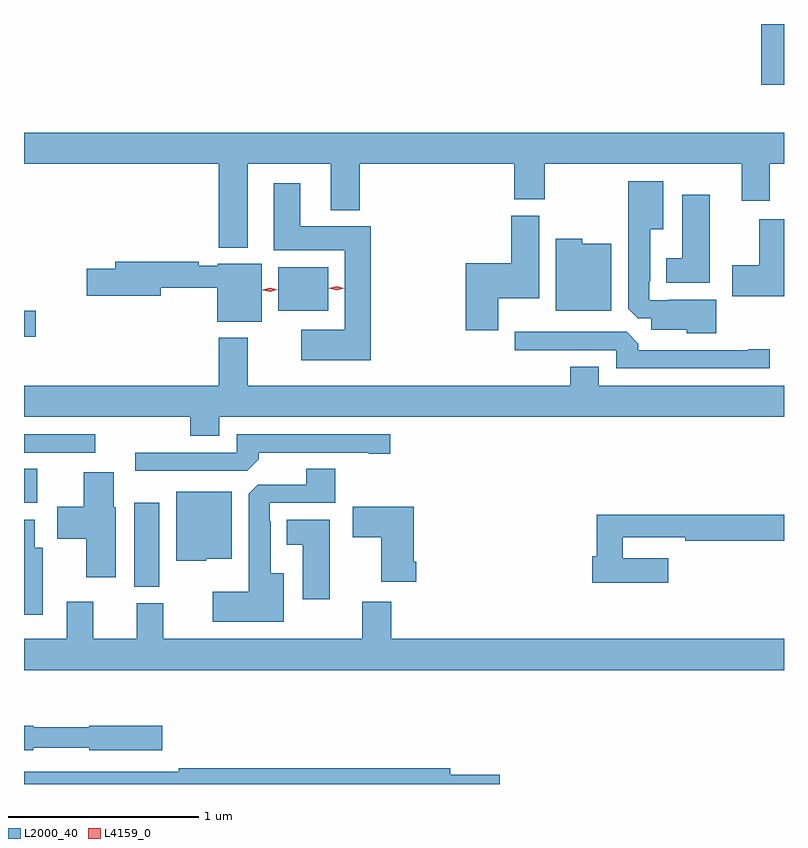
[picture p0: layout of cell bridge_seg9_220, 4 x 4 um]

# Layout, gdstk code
import gdstk
lib = gdstk.Library(unit=1e-6, precision=1e-09)
def R(c, l, rs):  # rectangles x0, y0, x1, y1
    for r in rs: c.add(gdstk.rectangle(r[:2], r[2:], *l))
def P(c, l, *ps):  # polygons
    for p in ps: c.add(gdstk.Polygon(p, *l))
L2000_40 = (2000, 40)
L4159_0 = (4159, 0)

bridge_seg9_220 = lib.new_cell('bridge_seg9_220')
R(bridge_seg9_220, L2000_40, [(230.63,1202.185,230.764,1202.629), (230.051,1202.628,230.122,1202.807), (230.051,1202.892,230.425,1202.988), (230.051,1203.503,230.113,1203.638), (231.389,1203.638,231.652,1203.868), (233.93,1204.827,234.051,1205.148)])
P(bridge_seg9_220, L2000_40, [(231.229,1204.412),(231.665,1204.412),(231.665,1204.169),(231.818,1204.169),(231.818,1204.412),(232.631,1204.412),(232.631,1204.225),(232.791,1204.225),(232.791,1204.412),(233.828,1204.412),(233.828,1204.218),(233.976,1204.218),(233.976,1204.412),(234.051,1204.412),(234.051,1204.576),(230.051,1204.576),(230.051,1204.412),(231.077,1204.412),(231.077,1203.971),(231.229,1203.971)],
  [(233.695,1203.697),(233.443,1203.697),(233.443,1203.693),(233.343,1203.693),(233.343,1203.793),(233.347,1203.793),(233.347,1204.067),(233.416,1204.067),(233.416,1204.321),(233.231,1204.321),(233.231,1203.649),(233.28,1203.6),(233.351,1203.6),(233.351,1203.539),(233.538,1203.539),(233.538,1203.521),(233.695,1203.521)],
  [(231.875,1204.084),(231.505,1204.084),(231.505,1204.309),(231.365,1204.309),(231.365,1203.956),(231.74,1203.956),(231.74,1203.538),(231.51,1203.538),(231.51,1203.377),(231.875,1203.377)],
  [(233.659,1204.249),(233.516,1204.249),(233.516,1203.916),(233.432,1203.916),(233.432,1203.785),(233.659,1203.785)],
  [(232.546,1203.704),(232.762,1203.704),(232.762,1204.14),(232.616,1204.14),(232.616,1203.889),(232.376,1203.889),(232.376,1203.537),(232.546,1203.537)],
  [(234.051,1204.12),(233.921,1204.12),(233.921,1203.879),(233.778,1203.879),(233.778,1203.716),(234.051,1203.716)],
  [(233.143,1203.991),(232.989,1203.991),(232.989,1204.018),(232.85,1204.018),(232.85,1203.638),(233.143,1203.638)],
  [(231.301,1203.886),(231.072,1203.886),(231.072,1203.876),(230.972,1203.876),(230.972,1203.896),(230.531,1203.896),(230.531,1203.86),(230.382,1203.86),(230.382,1203.718),(230.77,1203.718),(230.77,1203.76),(231.068,1203.76),(231.068,1203.581),(231.301,1203.581)],
  [(233.977,1203.437),(233.864,1203.437),(233.864,1203.432),(233.285,1203.432),(233.285,1203.466),(233.223,1203.528),(232.635,1203.528),(232.635,1203.432),(233.169,1203.432),(233.169,1203.336),(233.977,1203.336)],
  [(231.079,1203.08),(234.051,1203.08),(234.051,1203.244),(233.077,1203.244),(233.077,1203.343),(232.925,1203.343),(232.925,1203.244),(231.229,1203.244),(231.229,1203.496),(231.077,1203.496),(231.077,1203.244),(230.051,1203.244),(230.051,1203.08),(230.927,1203.08),(230.927,1202.981),(231.079,1202.981)],
  [(231.287,1202.858),(231.287,1202.892),(231.866,1202.892),(231.866,1202.887),(231.979,1202.887),(231.979,1202.988),(231.171,1202.988),(231.171,1202.892),(230.637,1202.892),(230.637,1202.796),(231.225,1202.796)],
  [(231.418,1202.257),(231.349,1202.257),(231.349,1202.531),(231.345,1202.531),(231.345,1202.628),(231.689,1202.628),(231.689,1202.807),(231.536,1202.807),(231.536,1202.724),(231.282,1202.724),(231.233,1202.675),(231.233,1202.161),(231.045,1202.161),(231.045,1202.003),(231.418,1202.003)],
  [(230.533,1202.604),(230.524,1202.604),(230.524,1202.788),(230.366,1202.788),(230.366,1202.608),(230.226,1202.608),(230.226,1202.439),(230.378,1202.439),(230.378,1202.235),(230.533,1202.235)],
  [(231.009,1202.333),(231.145,1202.333),(231.145,1202.686),(230.852,1202.686),(230.852,1202.324),(231.009,1202.324)],
  [(232.115,1202.317),(232.102,1202.317),(232.102,1202.608),(231.78,1202.608),(231.78,1202.446),(231.932,1202.446),(231.932,1202.213),(232.115,1202.213)],
  [(233.443,1202.335),(233.201,1202.335),(233.201,1202.448),(233.53,1202.448),(233.53,1202.428),(234.051,1202.428),(234.051,1202.564),(233.065,1202.564),(233.065,1202.348),(233.042,1202.348),(233.042,1202.206),(233.443,1202.206)],
  [(230.149,1202.392),(230.107,1202.392),(230.107,1202.539),(230.051,1202.539),(230.051,1202.04),(230.149,1202.04)],
  [(231.661,1202.539),(231.434,1202.539),(231.434,1202.408),(231.518,1202.408),(231.518,1202.121),(231.661,1202.121)],
  [(234.051,1201.912),(231.983,1201.912),(231.983,1202.107),(231.83,1202.107),(231.83,1201.912),(230.785,1201.912),(230.785,1202.1),(230.645,1202.1),(230.645,1201.912),(230.416,1201.912),(230.416,1202.107),(230.276,1202.107),(230.276,1201.912),(230.051,1201.912),(230.051,1201.748),(234.051,1201.748)],
  [(230.1,1201.338),(230.394,1201.338),(230.394,1201.325),(230.779,1201.325),(230.779,1201.455),(230.394,1201.455),(230.394,1201.447),(230.1,1201.447),(230.1,1201.455),(230.051,1201.455),(230.051,1201.325),(230.1,1201.325)],
  [(232.555,1201.196),(232.294,1201.196),(232.294,1201.232),(230.866,1201.232),(230.866,1201.212),(230.051,1201.212),(230.051,1201.148),(232.555,1201.148)])
P(bridge_seg9_220, L4159_0, [(231.696,1203.747),(231.656,1203.757),(231.656,1203.757),(231.656,1203.757),(231.696,1203.767),(231.737,1203.757),(231.737,1203.757),(231.737,1203.757)],
  [(231.346,1203.739),(231.307,1203.748),(231.307,1203.749),(231.307,1203.749),(231.346,1203.759),(231.384,1203.749),(231.384,1203.749),(231.384,1203.749)])

lib.write_gds('bridge_seg9_220.gds')
